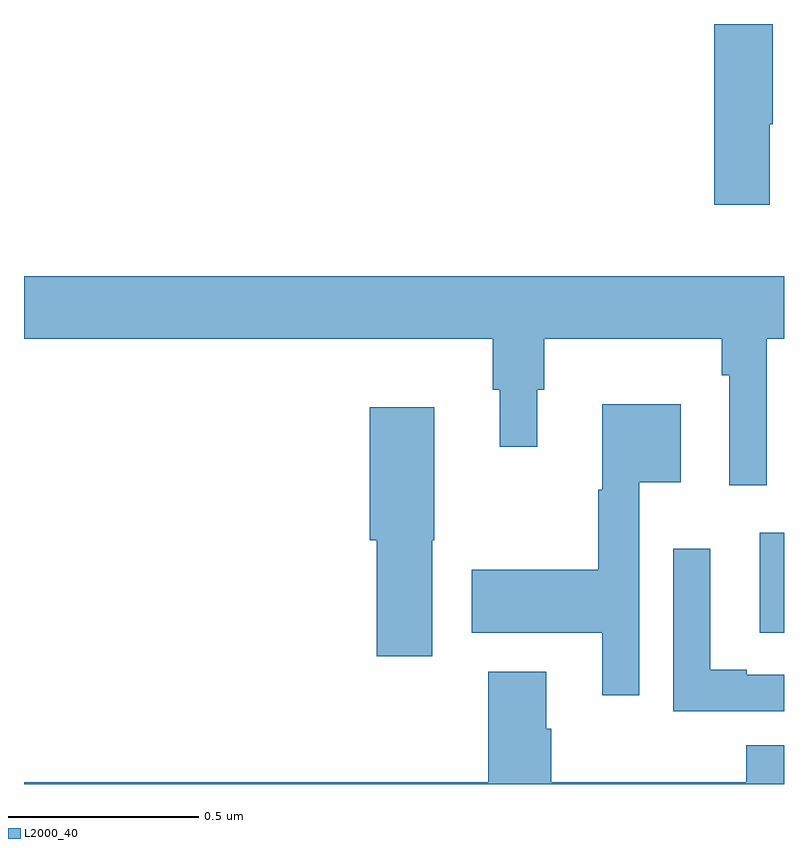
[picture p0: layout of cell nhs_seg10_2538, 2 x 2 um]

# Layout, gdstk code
import gdstk
lib = gdstk.Library(unit=1e-6, precision=1e-09)
def R(c, l, rs):  # rectangles x0, y0, x1, y1
    for r in rs: c.add(gdstk.rectangle(r[:2], r[2:], *l))
def P(c, l, *ps):  # polygons
    for p in ps: c.add(gdstk.Polygon(p, *l))
L2000_40 = (2000, 40)

nhs_seg10_2538 = lib.new_cell('nhs_seg10_2538')
R(nhs_seg10_2538, L2000_40, [(143.936,1276.898,144,1277.161)])
P(nhs_seg10_2538, L2000_40, [(143.962,1278.236),(143.97,1278.236),(143.97,1278.5),(143.816,1278.5),(143.816,1278.024),(143.962,1278.024)],
  [(143.954,1277.672),(144,1277.672),(144,1277.836),(142,1277.836),(142,1277.672),(143.233,1277.672),(143.233,1277.538),(143.252,1277.538),(143.252,1277.388),(143.35,1277.388),(143.35,1277.538),(143.369,1277.538),(143.369,1277.672),(143.836,1277.672),(143.836,1277.576),(143.856,1277.576),(143.856,1277.286),(143.954,1277.286)],
  [(143.619,1277.294),(143.728,1277.294),(143.728,1277.5),(143.522,1277.5),(143.522,1277.274),(143.511,1277.274),(143.511,1277.064),(143.178,1277.064),(143.178,1276.898),(143.522,1276.898),(143.522,1276.734),(143.619,1276.734)],
  [(143.074,1277.142),(143.08,1277.142),(143.08,1277.491),(142.91,1277.491),(142.91,1277.142),(142.928,1277.142),(142.928,1276.836),(143.074,1276.836)],
  [(144,1276.788),(143.902,1276.788),(143.902,1276.801),(143.806,1276.801),(143.806,1277.119),(143.709,1277.119),(143.709,1276.692),(144,1276.692)],
  [(144,1276.602),(143.9,1276.602),(143.9,1276.504),(143.387,1276.504),(143.387,1276.646),(143.374,1276.646),(143.374,1276.795),(143.222,1276.795),(143.222,1276.504),(142,1276.504),(142,1276.5),(144,1276.5)])

lib.write_gds('nhs_seg10_2538.gds')
